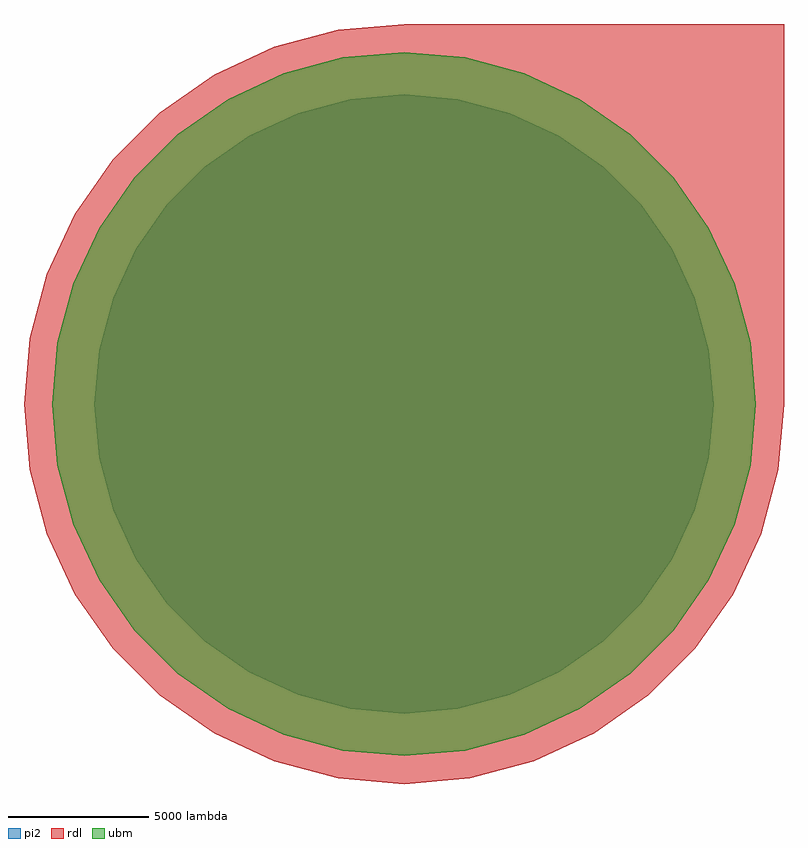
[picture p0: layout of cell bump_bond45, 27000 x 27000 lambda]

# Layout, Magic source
magic
tech micross
<< rdl >>
tri -2344 13295 0 13500 se
rect 0 13295 13500 13500
tri -4617 12686 -2344 13295 se
rect -2344 12686 13500 13295
tri -6750 11691 -4617 12686 se
rect -4617 11691 13500 12686
tri -8678 10342 -6750 11691 se
rect -6750 10342 13500 11691
tri -10342 8678 -8678 10342 se
rect -8678 8678 13500 10342
tri -11691 6750 -10342 8678 se
rect -10342 6750 13500 8678
tri -12686 4617 -11691 6750 se
rect -11691 4617 13500 6750
tri -13295 2344 -12686 4617 se
rect -12686 2344 13500 4617
tri -13500 0 -13295 2344 se
rect -13295 0 13500 2344
tri -13500 -2344 -13295 0 ne
rect -13295 -2344 13295 0
tri 13295 -2344 13500 0 nw
tri -13295 -4617 -12686 -2344 ne
rect -12686 -4617 12686 -2344
tri 12686 -4617 13295 -2344 nw
tri -12686 -6750 -11691 -4617 ne
rect -11691 -6750 11691 -4617
tri 11691 -6750 12686 -4617 nw
tri -11691 -8678 -10342 -6750 ne
rect -10342 -8678 10342 -6750
tri 10342 -8678 11691 -6750 nw
tri -10342 -10342 -8678 -8678 ne
rect -8678 -10342 8678 -8678
tri 8678 -10342 10342 -8678 nw
tri -8678 -11691 -6750 -10342 ne
rect -6750 -11691 6750 -10342
tri 6750 -11691 8678 -10342 nw
tri -6750 -12686 -4617 -11691 ne
rect -4617 -12686 4617 -11691
tri 4617 -12686 6750 -11691 nw
tri -4617 -13295 -2344 -12686 ne
rect -2344 -13295 2344 -12686
tri 2344 -13295 4617 -12686 nw
tri -2344 -13500 0 -13295 ne
tri 0 -13500 2344 -13295 nw
<< pi2 >>
tri -1910 10833 0 11000 se
tri 0 10833 1910 11000 sw
tri -3762 10337 -1910 10833 se
rect -1910 10337 1910 10833
tri 1910 10337 3762 10833 sw
tri -5500 9526 -3762 10337 se
rect -3762 9526 3762 10337
tri 3762 9526 5500 10337 sw
tri -7071 8426 -5500 9526 se
rect -5500 8426 5500 9526
tri 5500 8426 7071 9526 sw
tri -8426 7071 -7071 8426 se
rect -7071 7071 7071 8426
tri 7071 7071 8426 8426 sw
tri -9526 5500 -8426 7071 se
rect -8426 5500 8426 7071
tri 8426 5500 9526 7071 sw
tri -10337 3762 -9526 5500 se
rect -9526 3762 9526 5500
tri 9526 3762 10337 5500 sw
tri -10833 1910 -10337 3762 se
rect -10337 1910 10337 3762
tri 10337 1910 10833 3762 sw
tri -11000 0 -10833 1910 se
tri -11000 -1910 -10833 0 ne
rect -10833 -1910 10833 1910
tri 10833 0 11000 1910 sw
tri 10833 -1910 11000 0 nw
tri -10833 -3762 -10337 -1910 ne
rect -10337 -3762 10337 -1910
tri 10337 -3762 10833 -1910 nw
tri -10337 -5500 -9526 -3762 ne
rect -9526 -5500 9526 -3762
tri 9526 -5500 10337 -3762 nw
tri -9526 -7071 -8426 -5500 ne
rect -8426 -7071 8426 -5500
tri 8426 -7071 9526 -5500 nw
tri -8426 -8426 -7071 -7071 ne
rect -7071 -8426 7071 -7071
tri 7071 -8426 8426 -7071 nw
tri -7071 -9526 -5500 -8426 ne
rect -5500 -9526 5500 -8426
tri 5500 -9526 7071 -8426 nw
tri -5500 -10337 -3762 -9526 ne
rect -3762 -10337 3762 -9526
tri 3762 -10337 5500 -9526 nw
tri -3762 -10833 -1910 -10337 ne
rect -1910 -10833 1910 -10337
tri 1910 -10833 3762 -10337 nw
tri -1910 -11000 0 -10833 ne
tri 0 -11000 1910 -10833 nw
<< ubm >>
tri -2171 12310 0 12500 se
tri 0 12310 2171 12500 sw
tri -4275 11746 -2171 12310 se
rect -2171 11746 2171 12310
tri 2171 11746 4275 12310 sw
tri -6250 10825 -4275 11746 se
rect -4275 10825 4275 11746
tri 4275 10825 6250 11746 sw
tri -8035 9576 -6250 10825 se
rect -6250 9576 6250 10825
tri 6250 9576 8035 10825 sw
tri -9576 8035 -8035 9576 se
rect -8035 8035 8035 9576
tri 8035 8035 9576 9576 sw
tri -10825 6250 -9576 8035 se
rect -9576 6250 9576 8035
tri 9576 6250 10825 8035 sw
tri -11746 4275 -10825 6250 se
rect -10825 4275 10825 6250
tri 10825 4275 11746 6250 sw
tri -12310 2171 -11746 4275 se
rect -11746 2171 11746 4275
tri 11746 2171 12310 4275 sw
tri -12500 0 -12310 2171 se
tri -12500 -2171 -12310 0 ne
rect -12310 -2171 12310 2171
tri 12310 0 12500 2171 sw
tri 12310 -2171 12500 0 nw
tri -12310 -4275 -11746 -2171 ne
rect -11746 -4275 11746 -2171
tri 11746 -4275 12310 -2171 nw
tri -11746 -6250 -10825 -4275 ne
rect -10825 -6250 10825 -4275
tri 10825 -6250 11746 -4275 nw
tri -10825 -8035 -9576 -6250 ne
rect -9576 -8035 9576 -6250
tri 9576 -8035 10825 -6250 nw
tri -9576 -9576 -8035 -8035 ne
rect -8035 -9576 8035 -8035
tri 8035 -9576 9576 -8035 nw
tri -8035 -10825 -6250 -9576 ne
rect -6250 -10825 6250 -9576
tri 6250 -10825 8035 -9576 nw
tri -6250 -11746 -4275 -10825 ne
rect -4275 -11746 4275 -10825
tri 4275 -11746 6250 -10825 nw
tri -4275 -12310 -2171 -11746 ne
rect -2171 -12310 2171 -11746
tri 2171 -12310 4275 -11746 nw
tri -2171 -12500 0 -12310 ne
tri 0 -12500 2171 -12310 nw
<< properties >>
string FIXED_BBOX -13500 -13500 13500 13500
<< end >>
